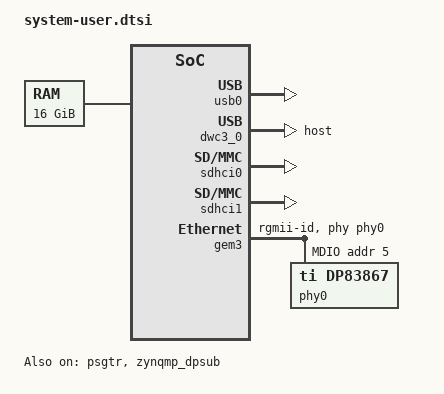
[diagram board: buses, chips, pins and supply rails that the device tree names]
#include <dt-bindings/pinctrl/pinctrl-zynqmp.h>
#include <dt-bindings/phy/phy.h>
#include <dt-bindings/net/ti-dp83867.h>
#include <dt-bindings/clock/xlnx-zynqmp-clk.h>
#include <dt-bindings/gpio/gpio.h>
/include/ "system-conf.dtsi"
/{  
    memory@1000000000{
        device_type = "memory";
        reg = <0x10 0x00000000 0x04 0x00000000>;
    };
};

&usb0 {
    status = "okay";
};
  
&dwc3_0 {
    status = "okay";
    dr_mode = "host";
};

&sdhci0 {
	status = "okay";
	no-1-8-v;
	disable-wp;
	max-frequency = <25000000>;
	sdhci-caps-mask = <0x0 0x00200000>;
};

&sdhci1 {
	status = "okay";
	no-1-8-v;
	disable-wp;
};

&pinctrl0 {
	pinctrl_gem3_default: gem3-default {
		conf {
			groups = "ethernet3_0_grp";
			slew-rate = <SLEW_RATE_SLOW>;
			power-source = <IO_STANDARD_LVCMOS18>;
		};

		conf-rx {
			pins = "MIO70", "MIO72", "MIO74";
			bias-high-impedance;
			low-power-disable;
		};

		conf-bootstrap {
			pins = "MIO71", "MIO73", "MIO75";
			bias-disable;
			low-power-disable;
		};

		conf-tx {
			pins = "MIO64", "MIO65", "MIO66",
				"MIO67", "MIO68", "MIO69";
			bias-disable;
			low-power-enable;
		};

		conf-mdio {
			groups = "mdio3_0_grp";
			slew-rate = <SLEW_RATE_SLOW>;
			power-source = <IO_STANDARD_LVCMOS18>;
			bias-disable;
		};

		mux-mdio {
			function = "mdio3";
			groups = "mdio3_0_grp";
		};

		mux {
			function = "ethernet3";
			groups = "ethernet3_0_grp";
		};
	};
};

&gem3 { 
    status = "okay";
    
    phy-handle = <&phy0>;
    phy-mode = "rgmii-id";
    xlnx,has-mdio = <0x1>;
    
    ti,rx-internal-delay = <DP83867_RGMIIDCTL_2_25_NS>;
    ti,tx-internal-delay = <DP83867_RGMIIDCTL_2_75_NS>;
    ti,fifo-depth = <DP83867_PHYCR_FIFO_DEPTH_4_B_NIB>;
    ti,dp83867-rxctrl-strap-quirk;
    // reset-gpios = <&gpio 18 GPIO_ACTIVE_LOW>;
    // is-internal-pcspma;
    // phy-connection-type = "mii";
    
    mdio: mdio {
        #address-cells = <1>;
        #size-cells = <0>;

        phy0: ethernet-phy@5 {
            compatible = "ti,dp83867", "ethernet-phy-id2000.a231", "ethernet-phy-ieee802.3-c22";
            device_type = "ethernet-phy";
            xlnx,phy-type = <0x4>;
            
            #phy-cells = <1>;
            reg = <5>;
            ti,rx-internal-delay = <DP83867_RGMIIDCTL_2_25_NS>;
            ti,tx-internal-delay = <DP83867_RGMIIDCTL_2_75_NS>;
            ti,fifo-depth = <DP83867_PHYCR_FIFO_DEPTH_4_B_NIB>;
            ti,dp83867-rxctrl-strap-quirk;
        };
    };
};



&amba {
	si5340a_0: si5340a_0 {
		compatible = "fixed-clock";
		#clock-cells = <0>;
		clock-frequency = <26000000>;
	};

	si5340a_1: si5340a_1 { 
		compatible = "fixed-clock";
		#clock-cells = <0>;
		clock-frequency = <27000000>;
	};
};

&psgtr {
	status = "okay";
	/* ref0: USB clk     ref1: DP clk */
	clocks = <&si5340a_0>, <&si5340a_1>;
	clock-names = "ref0", "ref1";
};


&zynqmp_dpsub {
	status = "okay";
	phy-names = "dp-phy0", "dp-phy1";
	assigned-clock-rates = <27000000>, <25000000>, <300000000>;
};

&zynqmp_dpdma {
	status = "okay";
	assigned-clock-rates = <600000000>;
};






































